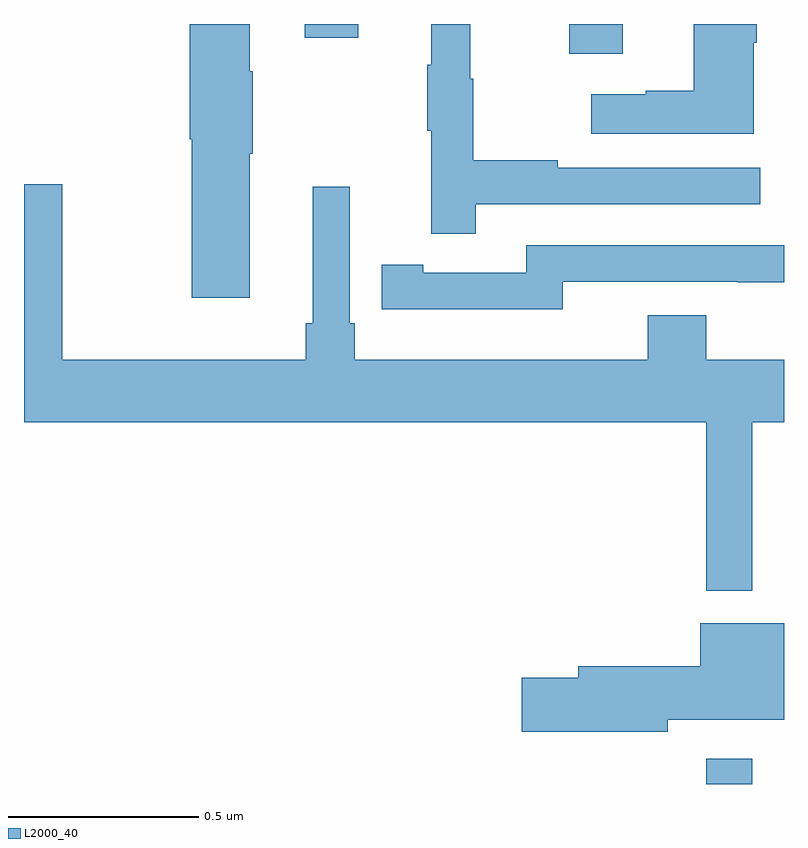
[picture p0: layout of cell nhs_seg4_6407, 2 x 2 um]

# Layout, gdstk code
import gdstk
lib = gdstk.Library(unit=1e-6, precision=1e-09)
def R(c, l, rs):  # rectangles x0, y0, x1, y1
    for r in rs: c.add(gdstk.rectangle(r[:2], r[2:], *l))
def P(c, l, *ps):  # polygons
    for p in ps: c.add(gdstk.Polygon(p, *l))
L2000_40 = (2000, 40)

nhs_seg4_6407 = lib.new_cell('nhs_seg4_6407')
R(nhs_seg4_6407, L2000_40, [(191.796,763.9,191.917,763.966), (191.435,765.822,191.575,765.9), (190.739,765.864,190.879,765.9)])
P(nhs_seg4_6407, L2000_40, [(190.594,765.559),(190.602,765.559),(190.602,765.776),(190.594,765.776),(190.594,765.9),(190.436,765.9),(190.436,765.597),(190.441,765.597),(190.441,765.18),(190.594,765.18)],
  [(191.92,765.851),(191.928,765.851),(191.928,765.9),(191.762,765.9),(191.762,765.725),(191.636,765.725),(191.636,765.715),(191.493,765.715),(191.493,765.611),(191.92,765.611)],
  [(191.189,765.426),(191.938,765.426),(191.938,765.522),(191.405,765.522),(191.405,765.542),(191.182,765.542),(191.182,765.756),(191.174,765.756),(191.174,765.9),(191.072,765.9),(191.072,765.793),(191.061,765.793),(191.061,765.619),(191.072,765.619),(191.072,765.348),(191.189,765.348)],
  [(190,765.478),(190,764.852),(191.796,764.852),(191.796,764.408),(191.917,764.408),(191.917,764.852),(192,764.852),(192,765.016),(191.795,765.016),(191.795,765.133),(191.642,765.133),(191.642,765.016),(190.871,765.016),(190.871,765.112),(190.857,765.112),(190.857,765.472),(190.76,765.472),(190.76,765.112),(190.741,765.112),(190.741,765.016),(190.101,765.016),(190.101,765.478)],
  [(191.418,765.222),(191.878,765.222),(191.878,765.221),(192,765.221),(192,765.318),(191.322,765.318),(191.322,765.246),(191.05,765.246),(191.05,765.266),(190.942,765.266),(190.942,765.15),(191.05,765.15),(191.05,765.149),(191.418,765.149)],
  [(191.694,764.069),(192,764.069),(192,764.323),(191.78,764.323),(191.78,764.21),(191.459,764.21),(191.459,764.18),(191.31,764.18),(191.31,764.038),(191.694,764.038)])

lib.write_gds('nhs_seg4_6407.gds')
